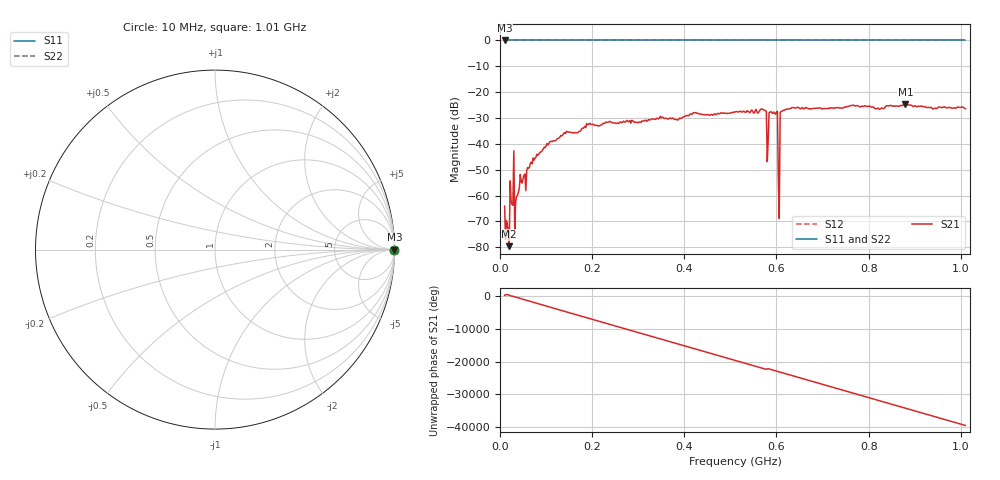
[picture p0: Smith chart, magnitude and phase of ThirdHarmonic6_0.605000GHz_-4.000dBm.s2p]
! 8/15/2025 7:46:23 PM
! C:\ANRITSUVNA\TEMP\TEMP.S2P
! CHANNEL.1
! TR.MEASUREMENT
! RAW.DATA
! RF.CORRECTION.OFF
! AVERAGING.OFF
! IF.BANDWIDTH: 5KHZ
! SWEEPTYPE:  FREQ.SWEEP(Linear)
! Reference Plane Port Info
! PORT:  PORT1  PORT2
! DISTANCE:  0  m  0  m
! TIME:  0  s  0  s
! PHASE.OFFSET:  0  deg.  0  deg.
! LOSS:  0  dB  0  dB
! REF.LOSS:  0  dB  0  dB
! REF.FREQ:  0  Hz  0  Hz
! Power Info
! POWER:  -20  dBm  -20  dBm
! EFF.POWER:  -20  dBm  -20  dBm
! SOURCE.ATTEN:  0  dB  0  dB
! TEST.ATTEN:  0  dB  0  dB
# GHZ S RI R 50.0
! FREQ.GHZ  S11RE  S11IM  S21RE  S21IM  S12RE  S12IM  S22RE  S22IM
!; PortSelection: Port_12
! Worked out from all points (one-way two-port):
!   501 points, 10 MHz to 1.01 GHz, reference 50 ohm
!   highest |S21| = -24.70 dB at 880 MHz (marker M1); lowest = -79.6 dB at 20 MHz (marker M2)
!   lowest |S11| = 0.0 dB at 10 MHz (marker M3)
!   |S11| at or under -10 dB: nowhere
!   |S22| runs from 0.0 to 0.0 dB; largest |S21 - S12| = 1.1
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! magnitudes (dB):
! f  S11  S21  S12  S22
! 10 MHz  0.0  -64.0  0.0  0.0
! 16 MHz  0.0  -71.1  0.0  0.0
! 20 MHz  0.0  -79.6  0.0  0.0
! 24 MHz  0.0  -62.0  0.0  0.0
! 26 MHz  0.0  -63.4  0.0  0.0
! 36 MHz  0.0  -60.3  0.0  0.0
! 48 MHz  0.0  -55.2  0.0  0.0
! 76 MHz  0.0  -45.4  0.0  0.0
! 178 MHz  0.0  -33.9  0.0  0.0
! 344 MHz  0.0  -30.3  0.0  0.0
! 510 MHz  0.0  -27.6  0.0  0.0
! 572 MHz  0.0  -26.8  0.0  0.0
! 584 MHz  0.0  -27.9  0.0  0.0
! 588 MHz  0.0  -27.5  0.0  0.0
! 598 MHz  0.0  -28.6  0.0  0.0
! 602 MHz  0.0  -27.4  0.0  0.0
! 608 MHz  0.0  -27.8  0.0  0.0
! 612 MHz  0.0  -27.4  0.0  0.0
! 678 MHz  0.0  -26.4  0.0  0.0
! 844 MHz  0.0  -25.3  0.0  0.0
! 880 MHz  0.0  -24.7  0.0  0.0
! 1.01 GHz  0.0  -26.4  0.0  0.0
